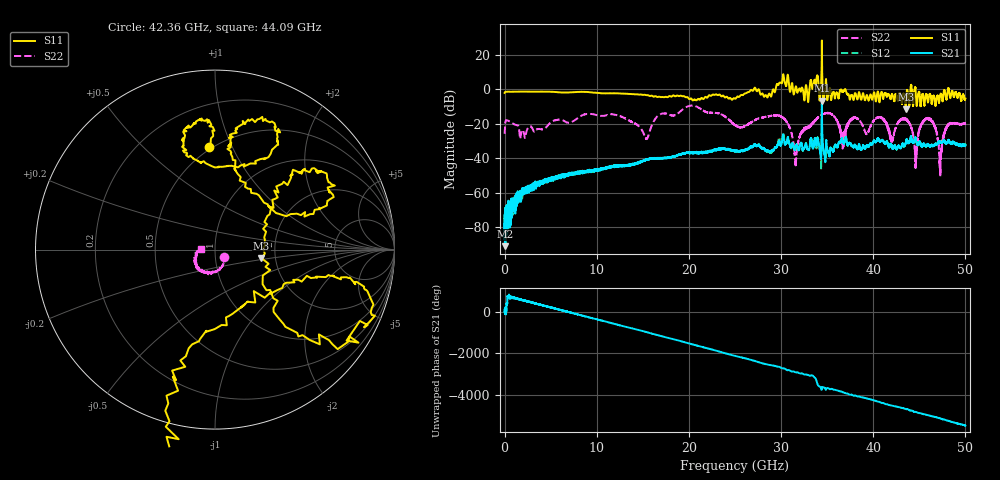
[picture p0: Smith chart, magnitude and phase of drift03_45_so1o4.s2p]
!Created with skrf (http://scikit-rf.org).
# Hz S RI R 50.0
!freq ReS11 ImS11 ReS21 ImS21 ReS12 ImS12 ReS22 ImS22
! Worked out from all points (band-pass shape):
!   10000 points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, 5.3 MHz to 50 GHz, reference 50 ohm
!   highest |S21| = -6.71 dB at 34.43 GHz (marker M1); lowest = -91.2 dB at 35.3 MHz (marker M2)
!   |S21| within 3 dB of the highest: 34.4274 GHz to 34.43509 GHz (7.691 MHz wide, 0.0223 % of centre)
!   lowest |S11| = -11.6 dB at 43.53 GHz (marker M3), VSWR 1.71, Z = 84.2 - j8.56 ohm
!   |S11| at or under -10 dB: 43.48489 GHz to 43.48571 GHz (821.9 kHz wide, 0.00189 % of centre); 43.49103 GHz to 43.54315 GHz (52.12 MHz wide, 0.12 % of centre); 43.54737 GHz to 43.55279 GHz (5.415 MHz wide, 0.0124 % of centre)
!   |S22| runs from -50.9 to -9.4 dB; largest |S21 - S12| = 0.13
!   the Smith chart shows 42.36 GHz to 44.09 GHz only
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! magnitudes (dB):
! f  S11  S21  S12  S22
! 5.3 MHz  -2.1  -84.0  -75.2  -25.8
! 35.3 MHz  -1.7  -91.2  -71.4  -21.9
! 2.07 GHz  -1.3  -59.3  -59.4  -24.8
! 8.34 GHz  -1.5  -48.3  -48.1  -15.3
! 15.39 GHz  -3.4  -41.1  -41.0  -28.9
! 16.67 GHz  -4.4  -40.1  -40.1  -15.3
! 20.46 GHz  -6.5  -37.3  -36.7  -9.5
! 25.01 GHz  -5.5  -36.0  -35.9  -20.8
! 29.93 GHz  4.0  -32.5  -31.7  -15.6
! 31.6 GHz  1.5  -33.7  -34.0  -43.0
! 33.34 GHz  2.6  -30.2  -30.6  -20.4
! 34.43 GHz  28.4  -6.7  -8.5  -14.5
! 36.69 GHz  -1.3  -29.9  -29.8  -28.6
! 37.95 GHz  -3.9  -32.6  -32.6  -16.2
! 41.67 GHz  -3.0  -33.3  -33.4  -23.3
! 43.53 GHz  -11.6  -31.0  -31.1  -17.5
! 44.61 GHz  -1.5  -29.0  -29.2  -41.4
! 45.27 GHz  -3.9  -33.2  -33.3  -19.6
! 46.27 GHz  -5.2  -32.8  -32.5  -17.8
! 47.29 GHz  -3.0  -31.2  -30.6  -47.2
! 48.12 GHz  0.3  -30.1  -30.4  -20.9
! 50 GHz  -5.4  -32.4  -32.7  -19.6
